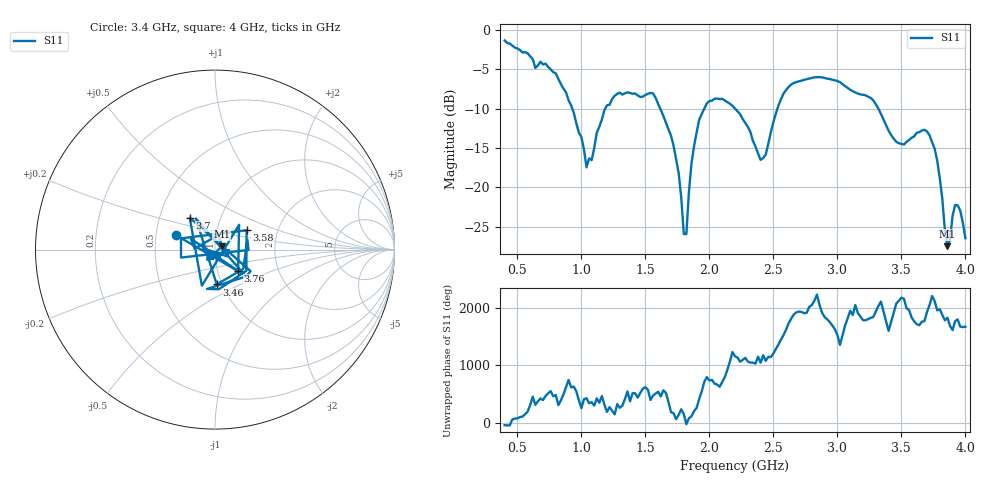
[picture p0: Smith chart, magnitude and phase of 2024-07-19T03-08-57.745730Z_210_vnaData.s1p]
!Created with skrf (http://scikit-rf.org).
# Hz S RI R 50.0
!freq ReS11 ImS11
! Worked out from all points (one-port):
!   181 points, 400 MHz to 4 GHz, reference 50 ohm
!   lowest |S11| = -27.5 dB at 3.86 GHz (marker M1), VSWR 1.09, Z = 53.9 + j2.09 ohm
!   |S11| at or under -10 dB: 1.615 GHz to 1.961 GHz (345.2 MHz wide, 19.3 % of centre); 2.2 GHz to 2.532 GHz (332.4 MHz wide, 14.1 % of centre); 3.32 GHz to end of sweep (the widest 3 of 4)
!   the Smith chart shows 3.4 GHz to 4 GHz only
!   S11 on the Smith chart (normalised r, x): 3.4 GHz: 0.64, +0.11; 3.46 GHz: 0.94, -0.38; 3.58 GHz: 1.39, +0.31; 3.7 GHz: 0.71, +0.27; 3.76 GHz: 1.25, -0.31; 4 GHz: 0.94, -0.07
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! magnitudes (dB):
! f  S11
! 400 MHz  -1.4
! 860 MHz  -7.5
! 1.04 GHz  -17.5
! 1.18 GHz  -10.2
! 1.3 GHz  -8.0
! 1.56 GHz  -8.1
! 1.7 GHz  -13.4
! 1.76 GHz  -18.2
! 1.8 GHz  -25.9
! 1.82 GHz  -25.9
! 1.86 GHz  -17.0
! 1.92 GHz  -11.4
! 2.04 GHz  -8.8
! 2.2 GHz  -10.0
! 2.4 GHz  -16.5
! 2.56 GHz  -8.8
! 2.66 GHz  -6.7
! 3.1 GHz  -7.6
! 3.28 GHz  -9.0
! 3.4 GHz  -12.8
! 3.46 GHz  -14.2
! 3.56 GHz  -14.0
! 3.58 GHz  -13.7
! 3.7 GHz  -12.9
! 3.76 GHz  -15.1
! 3.86 GHz  -27.5
! 3.92 GHz  -22.2
! 4 GHz  -26.5
